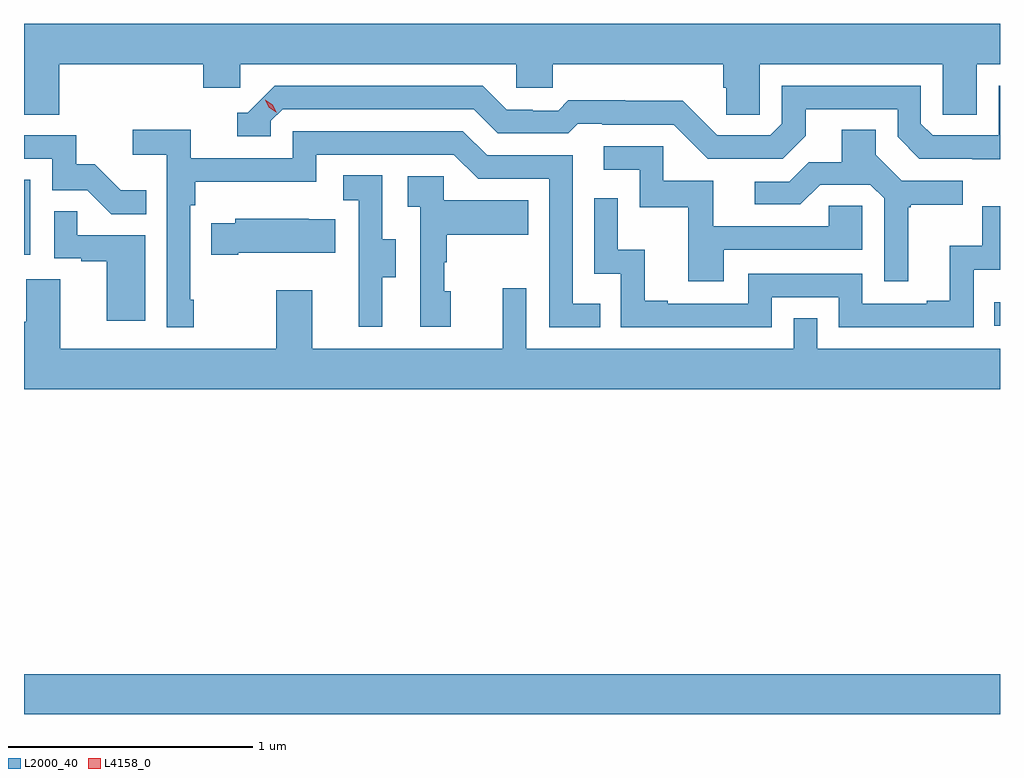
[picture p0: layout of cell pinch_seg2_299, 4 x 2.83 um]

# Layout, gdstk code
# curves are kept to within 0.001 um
import gdstk
lib = gdstk.Library(unit=1e-6, precision=1e-09)
def R(c, l, rs):  # rectangles x0, y0, x1, y1
    for r in rs: c.add(gdstk.rectangle(r[:2], r[2:], *l))
def P(c, l, *ps):  # polygons
    for p in ps: c.add(gdstk.Polygon(p, *l))
L2000_40 = (2000, 40)
L4158_0 = (4158, 0)

pinch_seg2_299 = lib.new_cell('pinch_seg2_299')
R(pinch_seg2_299, L2000_40, [(902.054,628.988,906.054,629.152), (906.031,630.579,906.054,630.676), (902.054,630.87,902.08,631.177)])
P(pinch_seg2_299, L2000_40, [(902.198,631.652),(902.789,631.652),(902.789,631.554),(902.94,631.554),(902.94,631.652),(904.071,631.652),(904.071,631.554),(904.221,631.554),(904.221,631.652),(904.919,631.652),(904.919,631.554),(904.933,631.554),(904.933,631.444),(905.07,631.444),(905.07,631.652),(905.82,631.652),(905.82,631.444),(905.959,631.444),(905.959,631.652),(906.054,631.652),(906.054,631.816),(902.054,631.816),(902.054,631.444),(902.198,631.444)],
  [(906.054,631.563),(906.048,631.563),(906.048,631.359),(905.778,631.359),(905.73,631.407),(905.73,631.563),(905.16,631.563),(905.16,631.407),(905.112,631.359),(904.896,631.359),(904.754,631.501),(904.518,631.501),(904.518,631.504),(904.285,631.504),(904.243,631.461),(904.14,631.461),(904.14,631.464),(904.033,631.464),(903.934,631.563),(903.081,631.563),(902.97,631.452),(902.927,631.452),(902.927,631.356),(903.066,631.356),(903.066,631.419),(903.114,631.467),(903.897,631.467),(903.996,631.368),(904.285,631.368),(904.324,631.407),(904.423,631.407),(904.423,631.404),(904.716,631.404),(904.857,631.263),(905.163,631.263),(905.257,631.357),(905.257,631.467),(905.634,631.467),(905.634,631.353),(905.724,631.263),(906.054,631.262)],
  [(905.677,631.065),(905.689,631.065),(905.689,631.076),(905.902,631.076),(905.902,631.173),(905.652,631.173),(905.545,631.28),(905.545,631.382),(905.405,631.382),(905.405,631.25),(905.27,631.25),(905.19,631.17),(905.049,631.17),(905.049,631.077),(905.236,631.077),(905.317,631.158),(905.523,631.158),(905.58,631.101),(905.58,630.762),(905.677,630.762)],
  [(902.749,630.685),(902.736,630.685),(902.736,631.073),(902.756,631.073),(902.756,631.169),(903.252,631.169),(903.252,631.281),(903.816,631.281),(903.915,631.182),(904.206,631.182),(904.206,630.573),(904.415,630.573),(904.415,630.669),(904.302,630.669),(904.302,631.278),(903.952,631.278),(903.853,631.377),(903.156,631.377),(903.156,631.266),(902.738,631.266),(902.738,631.382),(902.499,631.382),(902.499,631.28),(902.64,631.28),(902.64,630.573),(902.749,630.573)],
  [(902.555,631.135),(902.451,631.135),(902.344,631.242),(902.268,631.242),(902.268,631.359),(902.054,631.359),(902.054,631.263),(902.169,631.263),(902.169,631.134),(902.313,631.134),(902.411,631.036),(902.555,631.036)],
  [(904.921,630.891),(905.49,630.891),(905.49,631.071),(905.353,631.071),(905.353,630.987),(904.879,630.987),(904.879,631.173),(904.674,631.173),(904.674,631.314),(904.431,631.314),(904.431,631.218),(904.578,631.218),(904.578,631.065),(904.777,631.065),(904.777,630.762),(904.921,630.762)],
  [(903.523,630.778),(903.577,630.778),(903.577,630.933),(903.522,630.933),(903.522,631.196),(903.363,631.196),(903.363,631.093),(903.426,631.093),(903.426,630.789),(903.425,630.789),(903.425,630.576),(903.523,630.576)],
  [(903.802,630.72),(903.777,630.72),(903.777,630.839),(903.787,630.839),(903.787,630.953),(904.121,630.953),(904.121,631.093),(903.774,631.093),(903.774,631.191),(903.627,631.191),(903.627,631.067),(903.678,631.067),(903.678,630.576),(903.802,630.576)],
  [(905.118,630.696),(905.394,630.696),(905.394,630.573),(905.946,630.573),(905.946,630.809),(906.054,630.809),(906.054,631.068),(905.982,631.068),(905.982,630.907),(905.849,630.907),(905.849,630.682),(905.753,630.682),(905.753,630.669),(905.49,630.669),(905.49,630.792),(905.022,630.792),(905.022,630.669),(904.693,630.669),(904.693,630.682),(904.598,630.682),(904.598,630.89),(904.488,630.89),(904.488,631.102),(904.392,631.102),(904.392,630.792),(904.5,630.792),(904.5,630.573),(905.118,630.573)],
  [(902.551,630.951),(902.273,630.951),(902.273,631.049),(902.178,631.049),(902.178,630.855),(902.289,630.855),(902.289,630.843),(902.393,630.843),(902.393,630.6),(902.551,630.6)],
  [(902.932,630.878),(903.329,630.878),(903.329,631.015),(903.221,631.015),(903.221,631.018),(902.919,631.018),(902.919,631),(902.821,631),(902.821,630.871),(902.932,630.871)],
  [(906.054,630.484),(905.304,630.484),(905.304,630.611),(905.208,630.611),(905.208,630.484),(904.113,630.484),(904.113,630.733),(904.016,630.733),(904.016,630.484),(903.235,630.484),(903.235,630.724),(903.088,630.724),(903.088,630.484),(902.203,630.484),(902.203,630.77),(902.063,630.77),(902.063,630.596),(902.054,630.596),(902.054,630.32),(906.054,630.32)])
P(pinch_seg2_299, L4158_0, [(903.089,631.453),(903.059,631.472),(903.042,631.504),(903.042,631.505),(903.043,631.505),(903.073,631.485),(903.09,631.453),(903.09,631.453)])

lib.write_gds('pinch_seg2_299.gds')
